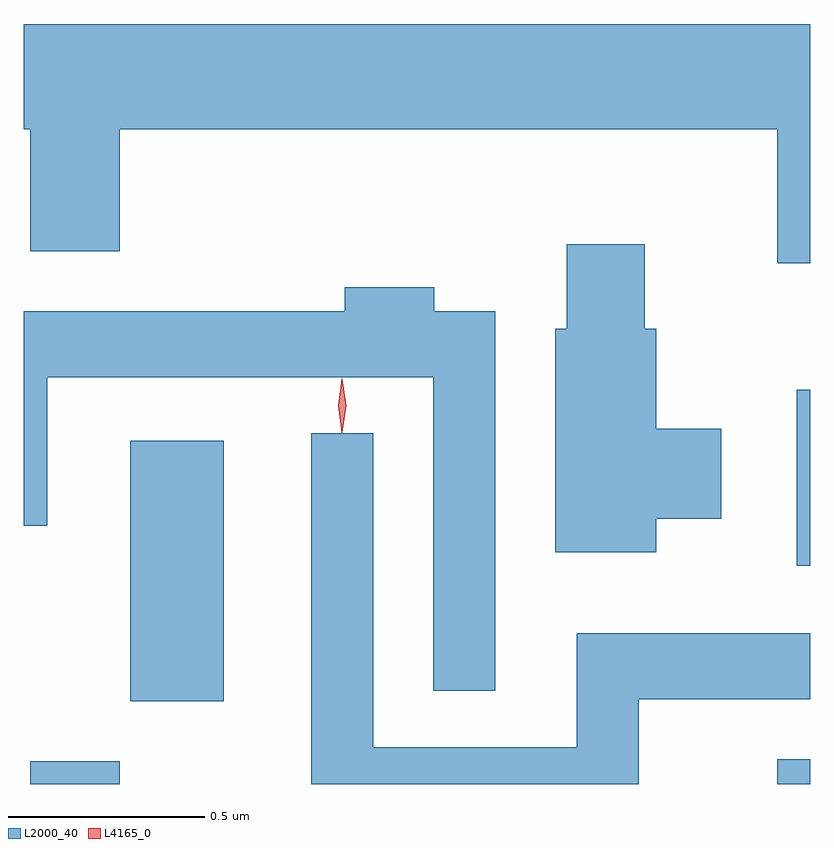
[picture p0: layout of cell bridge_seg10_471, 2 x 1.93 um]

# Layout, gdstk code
import gdstk
lib = gdstk.Library(unit=1e-6, precision=1e-09)
def R(c, l, rs):  # rectangles x0, y0, x1, y1
    for r in rs: c.add(gdstk.rectangle(r[:2], r[2:], *l))
def P(c, l, *ps):  # polygons
    for p in ps: c.add(gdstk.Polygon(p, *l))
L2000_40 = (2000, 40)
L4165_0 = (4165, 0)

bridge_seg10_471 = lib.new_cell('bridge_seg10_471')
R(bridge_seg10_471, L2000_40, [(1410.511,2105.591,1410.739,2105.649), (1412.411,2105.591,1412.495,2105.654), (1410.766,2105.801,1411.004,2106.464), (1412.461,2106.146,1412.495,2106.594)])
P(bridge_seg10_471, L2000_40, [(1412.495,2107.524),(1410.495,2107.524),(1410.495,2107.256),(1410.511,2107.256),(1410.511,2106.946),(1410.739,2106.946),(1410.739,2107.256),(1412.411,2107.256),(1412.411,2106.916),(1412.495,2106.916)],
  [(1412.104,2106.266),(1412.269,2106.266),(1412.269,2106.494),(1412.104,2106.494),(1412.104,2106.749),(1412.074,2106.749),(1412.074,2106.964),(1411.876,2106.964),(1411.876,2106.749),(1411.846,2106.749),(1411.846,2106.181),(1412.104,2106.181)],
  [(1411.694,2106.794),(1411.539,2106.794),(1411.539,2106.854),(1411.311,2106.854),(1411.311,2106.794),(1410.495,2106.794),(1410.495,2106.248),(1410.554,2106.248),(1410.554,2106.626),(1411.536,2106.626),(1411.536,2105.828),(1411.694,2105.828)],
  [(1412.059,2105.806),(1412.495,2105.806),(1412.495,2105.974),(1411.901,2105.974),(1411.901,2105.684),(1411.384,2105.684),(1411.384,2106.483),(1411.226,2106.483),(1411.226,2105.591),(1412.059,2105.591)])
P(bridge_seg10_471, L4165_0, [(1411.305,2106.483),(1411.304,2106.484),(1411.295,2106.553),(1411.304,2106.622),(1411.305,2106.623),(1411.305,2106.622),(1411.315,2106.553),(1411.305,2106.484)])

lib.write_gds('bridge_seg10_471.gds')
